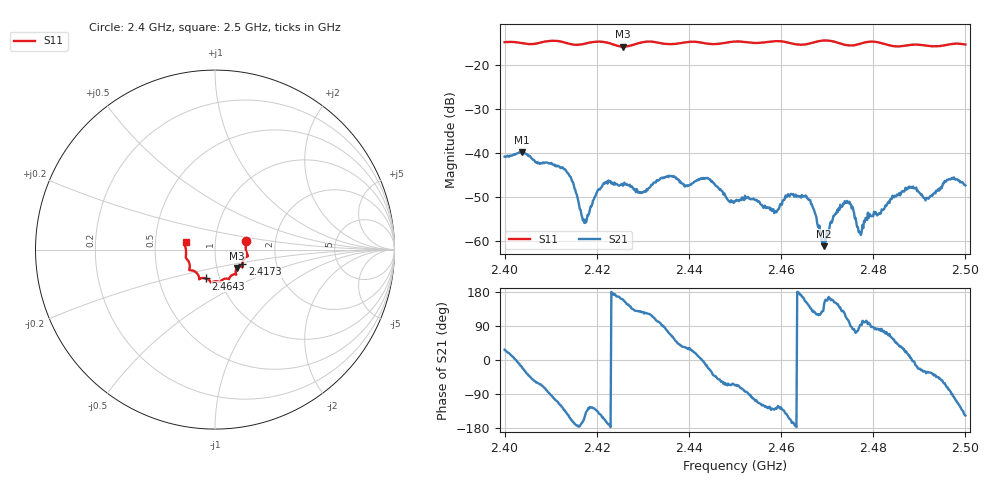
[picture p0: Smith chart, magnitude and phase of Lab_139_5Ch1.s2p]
# Hz S RI R 50
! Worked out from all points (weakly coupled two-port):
!   601 points, 2.4 GHz to 2.5 GHz, reference 50 ohm
!   highest |S21| = -39.95 dB at 2.4038 GHz (marker M1); lowest = -61.3 dB at 2.4693 GHz (marker M2)
!   lowest |S11| = -15.9 dB at 2.4257 GHz (marker M3), VSWR 1.38, Z = 62.5 - j13.1 ohm
!   |S11| at or under -10 dB: start of sweep to end of sweep
!   S12 and S22 are empty: the file has one direction only
!   S11 on the Smith chart (normalised r, x): 2.4 GHz: 1.41, +0.14; 2.4173 GHz: 1.34, -0.23; 2.4643 GHz: 0.86, -0.28; 2.5 GHz: 0.72, +0.06
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2.4e9  0.1731 0.0487  0.00801 0.00408  0 0  0 0
2.403833e9  0.1733 0.0273  0.00941 -0.00356  0 0  0 0
2.413e9  0.1738 -0.0412  -0.00435 -0.00482  0 0  0 0
2.416667e9  0.1527 -0.0742  -0.00192 -0.000427  0 0  0 0
2.417333e9  0.152 -0.0817  -0.00139 -0.000759  0 0  0 0
2.421667e9  0.1529 -0.096  -0.00405 -0.00173  0 0  0 0
2.425667e9  0.1228 -0.1024  -0.00393 0.00146  0 0  0 0
2.4295e9  0.1164 -0.1344  -0.00217 0.0027  0 0  0 0
2.433333e9  0.1126 -0.1372  -0.000938 0.00471  0 0  0 0
2.444167e9  0.0621 -0.161  0.00474 -0.00189  0 0  0 0
2.45e9  0.0285 -0.1808  0.0011 -0.0026  0 0  0 0
2.459e9  -0.0222 -0.1836  -0.00132 -0.00163  0 0  0 0
2.464333e9  -0.05 -0.1607  -0.00304 0.000441  0 0  0 0
2.466667e9  -0.076 -0.1592  -0.0017 0.00194  0 0  0 0
2.469333e9  -0.0882 -0.1661  -0.000723 0.00047  0 0  0 0
2.474e9  -0.0976 -0.1361  -0.00116 0.00247  0 0  0 0
2.477e9  -0.1265 -0.1161  5.68e-05 0.00126  0 0  0 0
2.483333e9  -0.1405 -0.0896  0.00118 0.0025  0 0  0 0
2.487833e9  -0.1594 -0.0512  0.00402 0.000865  0 0  0 0
2.491667e9  -0.1614 -0.0289  0.00262 -0.00158  0 0  0 0
2.4965e9  -0.1682 0.0238  0.000996 -0.0049  0 0  0 0
2.5e9  -0.1637 0.0426  -0.00353 -0.00232  0 0  0 0
